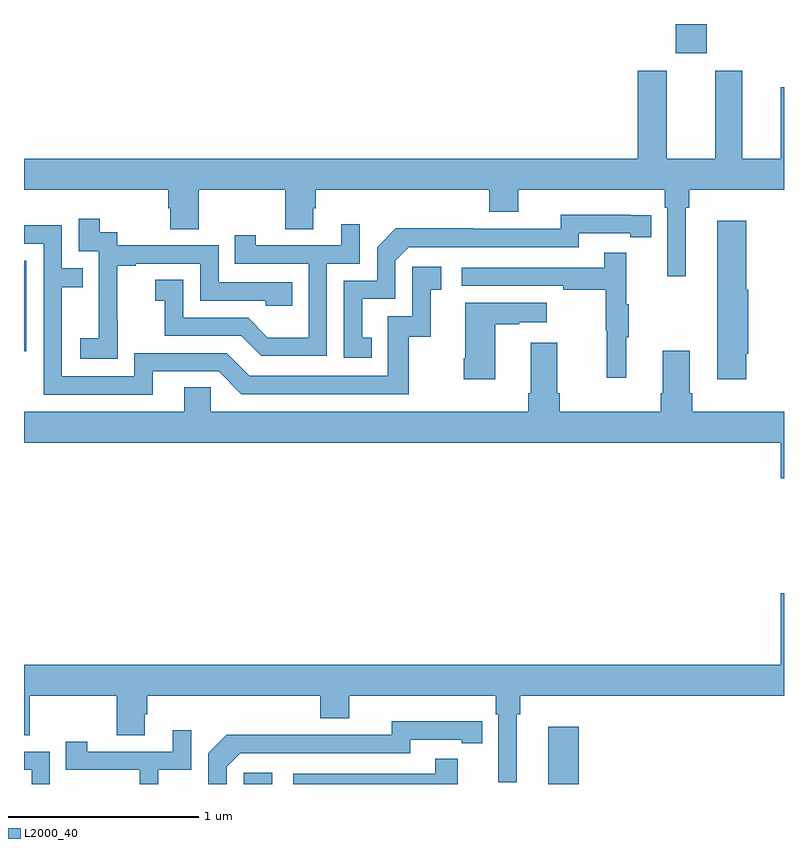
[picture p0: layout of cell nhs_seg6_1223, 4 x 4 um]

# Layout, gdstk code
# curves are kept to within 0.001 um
import gdstk
lib = gdstk.Library(unit=1e-6, precision=1e-09)
def R(c, l, rs):  # rectangles x0, y0, x1, y1
    for r in rs: c.add(gdstk.rectangle(r[:2], r[2:], *l))
def P(c, l, *ps):  # polygons
    for p in ps: c.add(gdstk.Polygon(p, *l))
L2000_40 = (2000, 40)

nhs_seg6_1223 = lib.new_cell('nhs_seg6_1223')
R(nhs_seg6_1223, L2000_40, [(186.156,985.5,186.307,985.558), (187.76,985.5,187.919,985.801), (185,987.777,185.013,988.254), (188.429,989.346,188.593,989.5)])
P(nhs_seg6_1223, L2000_40, [(188.482,988.532),(188.501,988.532),(188.501,988.628),(189,988.628),(189,989.167),(188.984,989.167),(188.984,988.792),(188.779,988.792),(188.779,989.254),(188.639,989.254),(188.639,988.792),(188.383,988.792),(188.383,989.254),(188.231,989.254),(188.231,988.792),(185,988.792),(185,988.628),(185.759,988.628),(185.759,988.53),(185.771,988.53),(185.771,988.42),(185.919,988.42),(185.919,988.628),(186.376,988.628),(186.376,988.42),(186.523,988.42),(186.523,988.53),(186.536,988.53),(186.536,988.628),(187.448,988.628),(187.448,988.511),(187.6,988.511),(187.6,988.628),(188.372,988.628),(188.372,988.532),(188.385,988.532),(188.385,988.173),(188.482,988.173)],
  [(186.83,987.849),(186.781,987.849),(186.781,988.053),(186.954,988.053),(186.954,988.254),(187.026,988.326),(187.92,988.326),(187.92,988.398),(188.192,988.398),(188.192,988.378),(188.3,988.378),(188.3,988.494),(187.824,988.495),(187.824,988.422),(187.364,988.422),(187.364,988.424),(186.956,988.424),(186.858,988.326),(186.858,988.149),(186.684,988.149),(186.684,987.744),(186.83,987.744)],
  [(185.493,987.943),(185.492,987.943),(185.492,988.227),(185.587,988.227),(185.587,988.239),(185.928,988.239),(185.928,988.044),(186.273,988.044),(186.273,988.017),(186.413,988.017),(186.413,988.14),(186.024,988.14),(186.024,988.335),(185.49,988.335),(185.49,988.404),(185.398,988.404),(185.398,988.474),(185.289,988.474),(185.289,988.305),(185.394,988.305),(185.394,988.076),(185.393,988.076),(185.393,987.847),(185.295,987.847),(185.295,987.737),(185.493,987.737)],
  [(188.802,987.765),(188.812,987.765),(188.812,988.101),(188.802,988.101),(188.802,988.465),(188.648,988.465),(188.648,987.63),(188.802,987.63)],
  [(186.594,988.239),(186.768,988.239),(186.768,988.447),(186.671,988.447),(186.671,988.335),(186.22,988.335),(186.22,988.387),(186.109,988.387),(186.109,988.239),(186.498,988.239),(186.498,987.85),(186.284,987.85),(186.18,987.954),(185.838,987.954),(185.838,988.153),(185.691,988.153),(185.691,988.043),(185.74,988.043),(185.74,987.858),(186.143,987.858),(186.248,987.753),(186.594,987.753)],
  [(185.677,987.672),(186.024,987.672),(186.144,987.552),(187.024,987.552),(187.024,987.855),(187.142,987.855),(187.142,988.101),(187.195,988.101),(187.195,988.222),(187.044,988.222),(187.044,987.963),(186.915,987.963),(186.915,987.648),(186.186,987.648),(186.066,987.768),(185.58,987.768),(185.58,987.645),(185.199,987.645),(185.199,988.114),(185.309,988.114),(185.309,988.215),(185.199,988.215),(185.199,988.44),(185,988.44),(185,988.344),(185.103,988.344),(185.103,987.549),(185.677,987.549)],
  [(188.171,987.851),(188.182,987.851),(188.182,988.025),(188.171,988.025),(188.171,988.297),(188.053,988.297),(188.053,988.218),(187.305,988.218),(187.305,988.122),(187.837,988.122),(187.837,988.102),(188.061,988.102),(188.061,987.888),(188.068,987.888),(188.068,987.639),(188.171,987.639)],
  [(187.48,987.919),(187.607,987.919),(187.607,987.929),(187.75,987.929),(187.75,988.033),(187.322,988.033),(187.322,987.742),(187.315,987.742),(187.315,987.63),(187.48,987.63)],
  [(189,987.46),(188.516,987.46),(188.516,987.556),(188.503,987.556),(188.503,987.781),(188.363,987.781),(188.363,987.556),(188.351,987.556),(188.351,987.46),(187.82,987.46),(187.82,987.556),(187.807,987.556),(187.807,987.823),(187.667,987.823),(187.667,987.556),(187.655,987.556),(187.655,987.46),(185.982,987.46),(185.982,987.587),(185.843,987.587),(185.843,987.46),(185,987.46),(185,987.296),(188.984,987.296),(188.984,987.108),(189,987.108)],
  [(187.594,985.868),(187.613,985.868),(187.613,985.964),(189,985.964),(189,986.503),(188.984,986.503),(188.984,986.128),(185,986.128),(185,985.756),(185.031,985.756),(185.031,985.964),(185.488,985.964),(185.488,985.756),(185.635,985.756),(185.635,985.866),(185.648,985.866),(185.648,985.964),(186.56,985.964),(186.56,985.847),(186.712,985.847),(186.712,985.964),(187.484,985.964),(187.484,985.868),(187.497,985.868),(187.497,985.509),(187.594,985.509)],
  [(186.066,985.59),(186.138,985.662),(187.032,985.662),(187.032,985.734),(187.304,985.734),(187.304,985.714),(187.412,985.714),(187.412,985.83),(186.936,985.831),(186.936,985.758),(186.476,985.758),(186.476,985.76),(186.068,985.76),(185.97,985.662),(185.97,985.5),(186.066,985.5)],
  [(185.706,985.575),(185.88,985.575),(185.88,985.783),(185.783,985.783),(185.783,985.671),(185.332,985.671),(185.332,985.723),(185.221,985.723),(185.221,985.575),(185.61,985.575),(185.61,985.5),(185.706,985.5)],
  [(185.136,985.671),(185,985.671),(185,985.575),(185.04,985.575),(185.04,985.5),(185.136,985.5)],
  [(187.283,985.633),(187.165,985.633),(187.165,985.554),(186.417,985.554),(186.417,985.5),(187.283,985.5)])

lib.write_gds('nhs_seg6_1223.gds')
